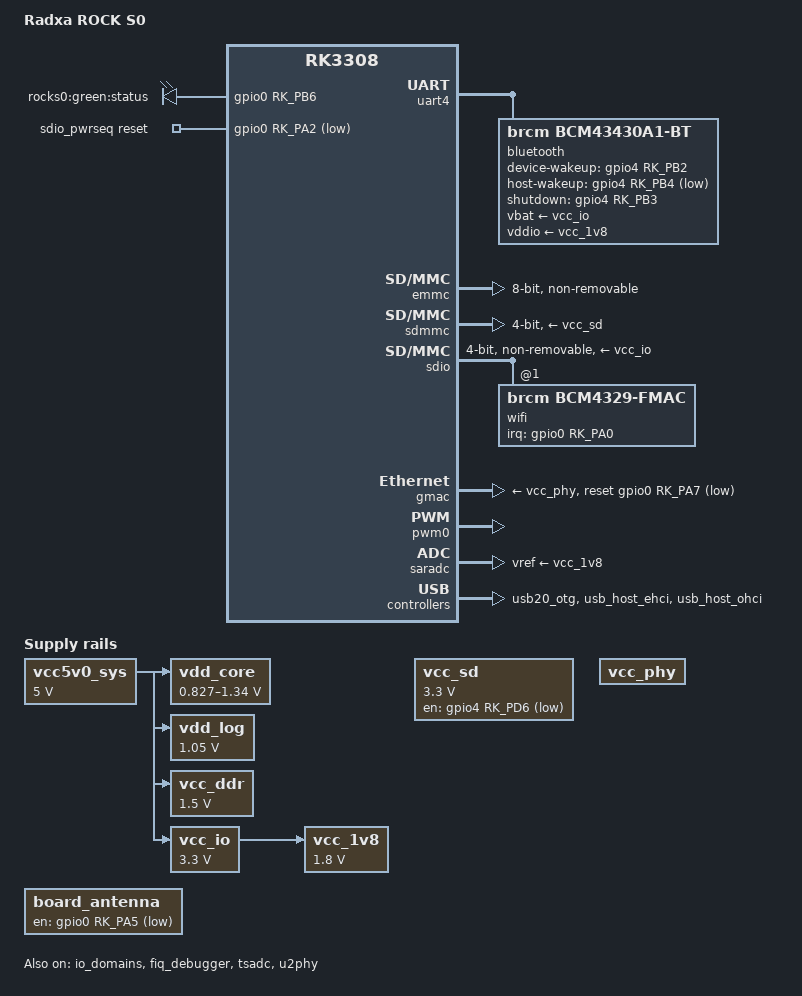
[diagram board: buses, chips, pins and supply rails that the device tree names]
// SPDX-License-Identifier: (GPL-2.0+ OR MIT)
/*
 * Copyright (c) 2019 Akash Gajjar <akash@openedev.com>
 * Copyright (c) 2019 Jagan Teki <jagan@openedev.com>
 * Revised: 2022 Brent Roman <brent@mbari.org>
 * Copyright (c) 2026 Radxa Computer (Shenzhen) Co., Ltd.
 */

/dts-v1/;
#include <dt-bindings/pwm/pwm.h>
#include "rk3308.dtsi"

/ {
	model = "Radxa ROCK S0";
	compatible = "radxa,rock-s0", "rockchip,rk3308";

	aliases {
		mmc0 = &emmc;
		mmc1 = &sdmmc;
		mmc2 = &sdio;
	};

	leds {
		compatible = "gpio-leds";
		pinctrl-names = "default";
		pinctrl-0 = <&green_led_gio>;

		green-led {
			label = "rocks0:green:status";
			gpios = <&gpio0 RK_PB6 GPIO_ACTIVE_HIGH>;
			linux,default-trigger = "heartbeat";
		};
	};

	sdio_pwrseq: sdio-pwrseq {
		compatible = "mmc-pwrseq-simple";
		pinctrl-0 = <&wifi_enable_h>;
		pinctrl-names = "default";
		/*
		 * On the module itself this is one of these (depending
		 * on the actual card populated):
		 * - SDIO_RESET_L_WL_REG_ON
		 * - PDN (power down when low)
		 */
		reset-gpios = <&gpio0 RK_PA2 GPIO_ACTIVE_LOW>;
	};

	vcc5v0_sys: vcc5v0-sys {
		compatible = "regulator-fixed";
		regulator-name = "vcc5v0_sys";
		regulator-min-microvolt = <5000000>;
		regulator-max-microvolt = <5000000>;
	};

	vdd_core: vdd-core {
		compatible = "pwm-regulator";
		pwms = <&pwm0 0 5000 PWM_POLARITY_INVERTED>;
		regulator-name = "vdd_core";
		regulator-min-microvolt = <827000>;
		regulator-max-microvolt = <1340000>;
		regulator-init-microvolt = <1015000>;
		regulator-settling-time-up-us = <250>;
		regulator-always-on;
		pwm-supply = <&vcc5v0_sys>;
	};

	vdd_log: vdd-log {
		compatible = "regulator-fixed";
		regulator-name = "vdd_log";
		regulator-always-on;
		regulator-boot-on;
		regulator-min-microvolt = <1050000>;
		regulator-max-microvolt = <1050000>;
		vin-supply = <&vcc5v0_sys>;
	};

	vcc_ddr: vcc-ddr {
		compatible = "regulator-fixed";
		regulator-name = "vcc_ddr";
		regulator-always-on;
		regulator-boot-on;
		regulator-min-microvolt = <1500000>;
		regulator-max-microvolt = <1500000>;
		vin-supply = <&vcc5v0_sys>;
	};

	vcc_1v8: vcc-1v8 {
		compatible = "regulator-fixed";
		regulator-name = "vcc_1v8";
		regulator-always-on;
		regulator-boot-on;
		regulator-min-microvolt = <1800000>;
		regulator-max-microvolt = <1800000>;
		vin-supply = <&vcc_io>;
	};

	vcc_io: vcc-io {
		compatible = "regulator-fixed";
		regulator-name = "vcc_io";
		regulator-always-on;
		regulator-boot-on;
		regulator-min-microvolt = <3300000>;
		regulator-max-microvolt = <3300000>;
		vin-supply = <&vcc5v0_sys>;
	};

	vcc_sd: vcc-sd {
		compatible = "regulator-fixed";
		gpio = <&gpio4 RK_PD6 GPIO_ACTIVE_LOW>;
		regulator-name = "vcc_sd";
		enable-active-low;
		regulator-always-on;
		regulator-boot-on;
		regulator-min-microvolt = <3300000>;
		regulator-max-microvolt = <3300000>;
	};

	vcc_phy: vcc-phy-regulator {
		compatible = "regulator-fixed";
		regulator-name = "vcc_phy";
		regulator-always-on;
		regulator-boot-on;
	};

	board_antenna: board-antenna {
		status = "okay";
		compatible = "regulator-fixed";
		enable-active-low;
		gpio = <&gpio0 RK_PA5 GPIO_ACTIVE_LOW>;
		regulator-always-on;
		regulator-boot-on;
		pinctrl-0 = <&ant_1>;
		pinctrl-names = "default";
		regulator-name = "board_antenna";
	};
};

&uart4 {
	dma-names = "tx", "rx";
	pinctrl-names = "default";
	pinctrl-0 = <&uart4_xfer &uart4_cts &uart4_rts>;
	status = "okay";

	bluetooth {
		compatible = "brcm,bcm43430a1-bt";
		clocks = <&cru SCLK_RTC32K>;
		clock-names = "lpo";
		max-speed = <1500000>;
		device-wakeup-gpios = <&gpio4 RK_PB2 GPIO_ACTIVE_HIGH>;
		host-wakeup-gpios = <&gpio4 RK_PB4 GPIO_ACTIVE_LOW>;
		shutdown-gpios = <&gpio4 RK_PB3 GPIO_ACTIVE_HIGH>;
		pinctrl-names = "default";
		pinctrl-0 = <&bt_host_wake_l &bt_wake_l &bt_enable_h>;
		vbat-supply = <&vcc_io>;
		vddio-supply = <&vcc_1v8>;
	};
};

&io_domains {
	status = "okay";
	vccio0-supply = <&vcc_io>;
	vccio1-supply = <&vcc_io>;
	vccio2-supply = <&vcc_io>;
	vccio3-supply = <&vcc_1v8>;
	vccio4-supply = <&vcc_1v8>;
	vccio5-supply = <&vcc_io>;
};

&cpu0 {
	cpu-supply = <&vdd_core>;
};

&emmc {
	bus-width = <8>;
	cap-mmc-highspeed;
	non-removable;
	status = "okay";
};

&sdmmc {
	supports-sd;
	bus-width = <4>;
	cap-mmc-highspeed;
	cap-sd-highspeed;
	num-slots = <1>;
	vmmc-supply = <&vcc_sd>;
	vqmmc-supply = <&vcc_io>;
	pinctrl-names = "default";
	pinctrl-0 = <&sdmmc_clk &sdmmc_cmd &sdmmc_det &sdmmc_bus4>;
	card-detect-delay = <800>;
	status = "okay";
};

&sdio {
	#address-cells = <1>;
	#size-cells = <0>;
	bus-width = <4>;
	cap-sd-highspeed;
	cap-sdio-irq;
	keep-power-in-suspend;
	mmc-pwrseq = <&sdio_pwrseq>;
	non-removable;
	sd-uhs-sdr104;
	vmmc-supply = <&vcc_io>;
	vqmmc-supply = <&vcc_1v8>;
	status = "okay";

	wifi@1 {
		compatible = "brcm,bcm4329-fmac";
		reg = <1>;
		interrupt-parent = <&gpio0>;
		interrupts = <RK_PA0 IRQ_TYPE_LEVEL_HIGH>;
		interrupt-names = "host-wake";
		pinctrl-names = "default";
		pinctrl-0 = <&wifi_host_wake>;
	};
};

&gmac {
	phy-supply = <&vcc_phy>;
	clock_in_out = "output";
	assigned-clocks = <&cru SCLK_MAC>;
	assigned-clock-parents = <&cru SCLK_MAC_SRC>;
	snps,reset-gpio = <&gpio0 RK_PA7 GPIO_ACTIVE_LOW>;
	snps,reset-active-low;
	snps,reset-delays-us = <0 50000 50000>;
	status = "okay";
};

&pinctrl {
	pinctrl-names = "default";
	pinctrl-0 = <&rtc_32k>;

	bluetooth {
		bt_host_wake_l: bt-host-wake-l {
			rockchip,pins = <4 RK_PB2 RK_FUNC_GPIO &pcfg_pull_none>;
		};

		bt_enable_h: bt-enable-h {
			rockchip,pins = <4 RK_PB3 RK_FUNC_GPIO &pcfg_pull_none>;
		};

		bt_wake_l: bt-wake-host-l {
			rockchip,pins = <4 RK_PB4 RK_FUNC_GPIO &pcfg_pull_none>;
		};
	};

	leds {
		green_led_gio: green-led-gpio {
			rockchip,pins = <0 RK_PB6 RK_FUNC_GPIO &pcfg_pull_none>;
		};
	};

	sdio-pwrseq {
		wifi_enable_h: wifi-enable-h {
			rockchip,pins = <0 RK_PA2 RK_FUNC_GPIO &pcfg_pull_none>;
		};
	};

	wifi {
		wifi_host_wake: wifi-host-wake {
			rockchip,pins = <0 RK_PA0 RK_FUNC_GPIO &pcfg_pull_none>;
		};
	};

	antenna {
		ant_1: ant-1 {
			rockchip,pins = <0 RK_PA5 RK_FUNC_GPIO &pcfg_pull_down>;
		};
	};
};

&fiq_debugger{
	rockchip,serial-id = <0>;
	status = "okay";
};

&pwm0 {
	status = "okay";
	pinctrl-0 = <&pwm0_pin_pull_down>;
};

&saradc {
	vref-supply = <&vcc_1v8>;
	status = "okay";
};

&tsadc {
	rockchip,hw-tshut-mode = <0>;		/* 0:CRU */
	rockchip,hw-tshut-polarity = <1>;	/* 1:HIGH */
	status = "okay";
};

&uart0 {
	status = "disabled";
	pinctrl-names = "default";
	pinctrl-0 = <&uart0_xfer>;
};

&u2phy {
	status = "okay";

	u2phy_host: host-port {
		status = "okay";
	};

	u2phy_otg: otg-port {
		status = "okay";
	};
};

&usb20_otg {
	status = "okay";
};

&usb_host_ehci {
	status = "okay";
};

&usb_host_ohci{
	status = "okay";
};

&gpio0 {
	gpio-line-names =
		/* GPIO0_A0-A3 */
		"", "PIN_16", "", "",
		/* GPIO0_A4-A7 */
		"", "", "", "",

		/* GPIO0_B0-B3 */
		"", "", "", "PIN_3",
		/* GPIO0_B4-B7 */
		"PIN_5", "", "", "PIN_27",

		/* GPIO0_C0-C3 */
		"PIN_28", "PIN_15", "PIN_33", "",
		/* GPIO0_C4-C7 */
		"", "", "", "",

		/* GPIO0_D0-D3 */
		"", "", "", "",
		/* GPIO0_D4-D7 */
		"", "", "", "";
};

&gpio1 {
	gpio-line-names =
		/* GPIO1_A0-A3 */
		"", "", "", "",
		/* GPIO1_A4-A7 */
		"", "", "", "",

		/* GPIO1_B0-B3 */
		"", "", "", "",
		/* GPIO1_B4-B7 */
		"", "", "", "",

		/* GPIO1_C0-C3 */
		"", "", "", "",
		/* GPIO1_C4-C7 */
		"", "", "PIN_21", "PIN_19",

		/* GPIO1_D0-D3 */
		"PIN_23", "PIN_24", "", "",
		/* GPIO1_D4-D7 */
		"", "", "", "";
};

&gpio2 {
	gpio-line-names =
		/* GPIO2_A0-A3 */
		"PIN_10", "PIN_8", "PIN_37", "PIN_13",
		/* GPIO2_A4-A7 */
		"PIN_35", "PIN_38", "PIN_36", "PIN_40",

		/* GPIO2_B0-B3 */
		"PIN_26", "PIN_12", "PIN_31", "PIN_22",
		/* GPIO2_B4-B7 */
		"PIN_32", "PIN_7", "PIN_11", "PIN_18",

		/* GPIO2_C0-C3 */
		"PIN_29", "", "", "",
		/* GPIO2_C4-C7 */
		"", "", "", "",

		/* GPIO2_D0-D3 */
		"", "", "", "",
		/* GPIO2_D4-D7 */
		"", "", "", "";
};

&gpio3 {
	gpio-line-names =
		/* GPIO3_A0-A3 */
		"", "", "", "",
		/* GPIO3_A4-A7 */
		"", "", "", "",

		/* GPIO3_B0-B3 */
		"", "", "", "",
		/* GPIO3_B4-B7 */
		"", "", "", "",

		/* GPIO3_C0-C3 */
		"", "", "", "",
		/* GPIO3_C4-C7 */
		"", "", "", "",

		/* GPIO3_D0-D3 */
		"", "", "", "",
		/* GPIO3_D4-D7 */
		"", "", "", "";
};

&gpio4 {
	gpio-line-names =
		/* GPIO4_A0-A3 */
		"", "", "", "",
		/* GPIO4_A4-A7 */
		"", "", "", "",

		/* GPIO4_B0-B3 */
		"", "", "", "",
		/* GPIO4_B4-B7 */
		"", "", "", "",

		/* GPIO4_C0-C3 */
		"", "", "", "",
		/* GPIO4_C4-C7 */
		"", "", "", "",

		/* GPIO4_D0-D3 */
		"", "", "", "",
		/* GPIO4_D4-D7 */
		"", "", "", "";
};
